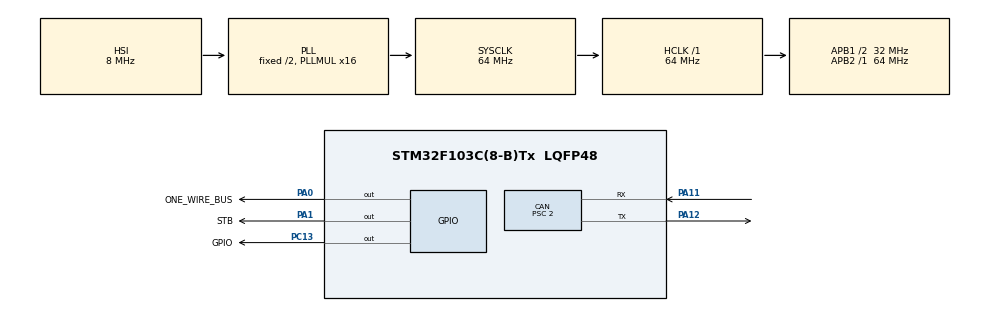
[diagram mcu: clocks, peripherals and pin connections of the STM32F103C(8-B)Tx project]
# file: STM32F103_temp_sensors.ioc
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CAN.BS1=CAN_BS1_11TQ
CAN.BS2=CAN_BS2_4TQ
CAN.CalculateBaudRate=1000000
CAN.CalculateTimeBit=1000
CAN.CalculateTimeQuantum=62.5
CAN.NART=ENABLE
CAN.Prescaler=2
CAN.TXFP=ENABLE
FREERTOS.Tasks01=task_can_handle,40,256,start_task_can_handler,Default,NULL,Dynamic,NULL,NULL;task_dispatcher,24,256,start_task_dispatcher,Default,NULL,Dynamic,NULL,NULL;task_temp_monit,16,256,start_task_temp_monitor,Default,NULL,Dynamic,NULL,NULL;task_watchdog,48,128,start_task_watchdog,Default,NULL,Dynamic,NULL,NULL
FREERTOS.configTOTAL_HEAP_SIZE=8192
FREERTOS.configUSE_NEWLIB_REENTRANT=1
IWDG.Prescaler=IWDG_PRESCALER_256
IWDG.Reload=624
Mcu.Family=STM32F1
Mcu.Name=STM32F103C(8-B)Tx
Mcu.Package=LQFP48
NVIC.CAN1_RX1_IRQn=true\:5\:0\:false\:false\:true\:true\:true\:true\:true
NVIC.CAN1_SCE_IRQn=true\:5\:0\:false\:false\:true\:true\:true\:true\:true
NVIC.PriorityGroup=NVIC_PRIORITYGROUP_4
NVIC.TIM4_IRQn=true\:15\:0\:false\:false\:true\:false\:false\:true\:true
NVIC.TimeBase=TIM4_IRQn
NVIC.TimeBaseIP=TIM4
NVIC.USB_LP_CAN1_RX0_IRQn=true\:5\:0\:false\:false\:true\:true\:true\:true\:true
PA0-WKUP.GPIO_Label=ONE_WIRE_BUS
PA0-WKUP.GPIO_ModeDefaultOutputPP=GPIO_MODE_OUTPUT_OD
PA0-WKUP.GPIO_PuPd=GPIO_NOPULL
PA0-WKUP.Signal=GPIO_Output
PA1.GPIO_Label=STB
PA1.GPIO_PuPd=GPIO_NOPULL
PA1.Signal=GPIO_Output
PA11.Mode=CAN_Activate
PA11.Signal=CAN_RX
PA12.Mode=CAN_Activate
PA12.Signal=CAN_TX
PA13.Mode=Serial_Wire
PA13.Signal=SYS_JTMS-SWDIO
PA14.Mode=Serial_Wire
PA14.Signal=SYS_JTCK-SWCLK
PC13-TAMPER-RTC.GPIO_Label=GPIO
PC13-TAMPER-RTC.Signal=GPIO_Output
ProjectManager.HeapSize=0x200
ProjectManager.StackSize=0x400
ProjectManager.TargetToolchain=STM32CubeIDE
RCC.AHBFreq_Value=64000000
RCC.APB1CLKDivider=RCC_HCLK_DIV2
RCC.APB1Freq_Value=32000000
RCC.APB1TimFreq_Value=64000000
RCC.APB2Freq_Value=64000000
RCC.APB2TimFreq_Value=64000000
RCC.HCLKFreq_Value=64000000
RCC.PLLMUL=RCC_PLL_MUL16
RCC.SYSCLKFreq_VALUE=64000000
RCC.SYSCLKSource=RCC_SYSCLKSOURCE_PLLCLK
RCC.USBFreq_Value=64000000
TIM3.Prescaler=63
VP_FREERTOS_VS_CMSIS_V2.Mode=CMSIS_V2
VP_IWDG_VS_IWDG.Mode=IWDG_Activate
VP_SYS_VS_tim4.Mode=TIM4
VP_TIM3_VS_ClockSourceINT.Mode=Internal
board=custom

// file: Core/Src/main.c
/* USER CODE BEGIN Header */
/**
 ******************************************************************************
 * @file           : main.c
 * @brief          : Main program body
 ******************************************************************************
 * @attention
 *
 * Copyright (c) 2025 STMicroelectronics.
 * All rights reserved.
 *
 * This software is licensed under terms that can be found in the LICENSE file
 * in the root directory of this software component.
 * If no LICENSE file comes with this software, it is provided AS-IS.
 *
 ******************************************************************************
 */
/* USER CODE END Header */
#include "main.h"
#include "cmsis_os.h"

/* USER CODE BEGIN Includes */

#include "app_flash.h"
#include "app_queues.h"
#include "app_config.h"
#include "can_protocol.h"
#include "task_can_handler.h"
#include "task_dispatcher.h"
#include "task_temp_monitor.h"
#include "app_safety.h"
#include "task_watchdog.h"

/* USER CODE END Includes */

CAN_HandleTypeDef hcan;

IWDG_HandleTypeDef hiwdg;

TIM_HandleTypeDef htim3;

/* Definitions for task_can_handle */
osThreadId_t task_can_handleHandle;
const osThreadAttr_t task_can_handle_attributes = {
  .name = "task_can_handle",
  .stack_size = 256 * 4,
  .priority = (osPriority_t) osPriorityHigh,
};
/* Definitions for task_dispatcher */
osThreadId_t task_dispatcherHandle;
const osThreadAttr_t task_dispatcher_attributes = {
  .name = "task_dispatcher",
  .stack_size = 256 * 4,
  .priority = (osPriority_t) osPriorityNormal,
};
/* Definitions for task_temp_monit */
osThreadId_t task_temp_monitHandle;
const osThreadAttr_t task_temp_monit_attributes = {
  .name = "task_temp_monit",
  .stack_size = 256 * 4,
  .priority = (osPriority_t) osPriorityBelowNormal,
};
/* Definitions for task_watchdog */
osThreadId_t task_watchdogHandle;
const osThreadAttr_t task_watchdog_attributes = {
  .name = "task_watchdog",
  .stack_size = 128 * 4,
  .priority = (osPriority_t) osPriorityRealtime,
};
/* USER CODE BEGIN PV */

osMessageQueueId_t can_rx_queueHandle;
osMessageQueueId_t can_tx_queueHandle;
osMessageQueueId_t parser_queueHandle;
osMessageQueueId_t thermo_queueHandle;

/* USER CODE END PV */

void SystemClock_Config(void);
static void MX_GPIO_Init(void);
static void MX_CAN_Init(void);
static void MX_TIM3_Init(void);
static void MX_IWDG_Init(void);
void start_task_can_handler(void *argument);
void start_task_dispatcher(void *argument);
void start_task_temp_monitor(void *argument);
void start_task_watchdog(void *argument);

int main(void)
{

  /* MCU Configuration--------------------------------------------------------*/

  /* Reset of all peripherals, Initializes the Flash interface and the Systick. */
  HAL_Init();

  /* Configure the system clock */
  SystemClock_Config();

  /* Initialize all configured peripherals */
  MX_GPIO_Init();
  MX_CAN_Init();
  MX_TIM3_Init();
  MX_IWDG_Init();
  /* USER CODE BEGIN 2 */

	AppConfig_Init(); // Загрузка маппинга и создание мьютекса

	// Создание очередей FreeRTOS с использованием именованных констант
	can_rx_queueHandle = osMessageQueueNew(CAN_RX_QUEUE_LEN,
			sizeof(CanRxFrame_t), NULL); // CAN-фрейм: на прием
	can_tx_queueHandle = osMessageQueueNew(CAN_TX_QUEUE_LEN,
			sizeof(CanTxFrame_t), NULL); // CAN-фрейм на отправку
	parser_queueHandle = osMessageQueueNew(DISPATCHER_QUEUE_LEN,
			sizeof(ParsedCanCommand_t), NULL); // Структура команды
	thermo_queueHandle = osMessageQueueNew(THERMO_QUEUE_LEN,
			sizeof(ThermoCommand_t), NULL); // Прикладная команда Thermo

	// Проверка успешности создания очередей
	if (can_rx_queueHandle == NULL || parser_queueHandle == NULL
			|| can_tx_queueHandle == NULL || thermo_queueHandle == NULL) {
		Error_Handler();
	}

  /* USER CODE END 2 */

  /* Init scheduler */
  osKernelInitialize();

  /* Create the thread(s) */
  /* creation of task_can_handle */
  task_can_handleHandle = osThreadNew(start_task_can_handler, NULL, &task_can_handle_attributes);

  /* creation of task_dispatcher */
  task_dispatcherHandle = osThreadNew(start_task_dispatcher, NULL, &task_dispatcher_attributes);

  /* creation of task_temp_monit */
  task_temp_monitHandle = osThreadNew(start_task_temp_monitor, NULL, &task_temp_monit_attributes);

  /* creation of task_watchdog */
  task_watchdogHandle = osThreadNew(start_task_watchdog, NULL, &task_watchdog_attributes);

  /* USER CODE BEGIN RTOS_THREADS */
	/* add threads, ... */
	/*
	 *
	 * CAN, Dispatcher, Temp Monitor и Watchdog - критические задачи.
	 * Если хотя бы одна не создана, Executor не должен стартовать
	 * в частично рабочем состоянии.
	 *
	 */
	if (task_can_handleHandle == NULL || task_dispatcherHandle == NULL
			|| task_temp_monitHandle == NULL || task_watchdogHandle == NULL) {
		Error_Handler();
	}

  /* USER CODE END RTOS_THREADS */

  /* Start scheduler */
  osKernelStart();

  /* We should never get here as control is now taken by the scheduler */

  /* Infinite loop */
	while (1) {

	}
}

void SystemClock_Config(void)
{
  RCC_OscInitTypeDef RCC_OscInitStruct = {0};
  RCC_ClkInitTypeDef RCC_ClkInitStruct = {0};

  /** Initializes the RCC Oscillators according to the specified parameters
  * in the RCC_OscInitTypeDef structure.
  */
  RCC_OscInitStruct.OscillatorType = RCC_OSCILLATORTYPE_HSI|RCC_OSCILLATORTYPE_LSI;
  RCC_OscInitStruct.HSIState = RCC_HSI_ON;
  RCC_OscInitStruct.HSICalibrationValue = RCC_HSICALIBRATION_DEFAULT;
  RCC_OscInitStruct.LSIState = RCC_LSI_ON;
  RCC_OscInitStruct.PLL.PLLState = RCC_PLL_ON;
  RCC_OscInitStruct.PLL.PLLSource = RCC_PLLSOURCE_HSI_DIV2;
  RCC_OscInitStruct.PLL.PLLMUL = RCC_PLL_MUL16;
  if (HAL_RCC_OscConfig(&RCC_OscInitStruct) != HAL_OK)
  {
    Error_Handler();
  }

  /** Initializes the CPU, AHB and APB buses clocks
  */
  RCC_ClkInitStruct.ClockType = RCC_CLOCKTYPE_HCLK|RCC_CLOCKTYPE_SYSCLK
                              |RCC_CLOCKTYPE_PCLK1|RCC_CLOCKTYPE_PCLK2;
  RCC_ClkInitStruct.SYSCLKSource = RCC_SYSCLKSOURCE_PLLCLK;
  RCC_ClkInitStruct.AHBCLKDivider = RCC_SYSCLK_DIV1;
  RCC_ClkInitStruct.APB1CLKDivider = RCC_HCLK_DIV2;
  RCC_ClkInitStruct.APB2CLKDivider = RCC_HCLK_DIV1;

  if (HAL_RCC_ClockConfig(&RCC_ClkInitStruct, FLASH_LATENCY_2) != HAL_OK)
  {
    Error_Handler();
  }
}

static void MX_CAN_Init(void)
{

  hcan.Instance = CAN1;
  hcan.Init.Prescaler = 2;
  hcan.Init.Mode = CAN_MODE_NORMAL;
  hcan.Init.SyncJumpWidth = CAN_SJW_1TQ;
  hcan.Init.TimeSeg1 = CAN_BS1_11TQ;
  hcan.Init.TimeSeg2 = CAN_BS2_4TQ;
  hcan.Init.TimeTriggeredMode = DISABLE;
  hcan.Init.AutoBusOff = DISABLE;
  hcan.Init.AutoWakeUp = DISABLE;
  hcan.Init.AutoRetransmission = ENABLE;
  hcan.Init.ReceiveFifoLocked = DISABLE;
  hcan.Init.TransmitFifoPriority = ENABLE;
  if (HAL_CAN_Init(&hcan) != HAL_OK)
  {
    Error_Handler();
  }

}

static void MX_IWDG_Init(void)
{

  hiwdg.Instance = IWDG;
  hiwdg.Init.Prescaler = IWDG_PRESCALER_256;
  hiwdg.Init.Reload = 624;
  if (HAL_IWDG_Init(&hiwdg) != HAL_OK)
  {
    Error_Handler();
  }

}

static void MX_TIM3_Init(void)
{

  TIM_ClockConfigTypeDef sClockSourceConfig = {0};
  TIM_MasterConfigTypeDef sMasterConfig = {0};

  htim3.Instance = TIM3;
  htim3.Init.Prescaler = 63;
  htim3.Init.CounterMode = TIM_COUNTERMODE_UP;
  htim3.Init.Period = 65535;
  htim3.Init.ClockDivision = TIM_CLOCKDIVISION_DIV1;
  htim3.Init.AutoReloadPreload = TIM_AUTORELOAD_PRELOAD_DISABLE;
  if (HAL_TIM_Base_Init(&htim3) != HAL_OK)
  {
    Error_Handler();
  }
  sClockSourceConfig.ClockSource = TIM_CLOCKSOURCE_INTERNAL;
  if (HAL_TIM_ConfigClockSource(&htim3, &sClockSourceConfig) != HAL_OK)
  {
    Error_Handler();
  }
  sMasterConfig.MasterOutputTrigger = TIM_TRGO_RESET;
  sMasterConfig.MasterSlaveMode = TIM_MASTERSLAVEMODE_DISABLE;
  if (HAL_TIMEx_MasterConfigSynchronization(&htim3, &sMasterConfig) != HAL_OK)
  {
    Error_Handler();
  }
  /* USER CODE BEGIN TIM3_Init 2 */

	/*
	 * TIM3 используется драйвером DS18B20 как свободно бегущий
	 * микросекундный таймер для delay_us().
	 *
	 * Без запуска базового таймера счетчик TIM3 не растет, и delay_us()
	 * может зависнуть в цикле ожидания первого 1-Wire тайминга.
	 */
	if (HAL_TIM_Base_Start(&htim3) != HAL_OK) {
		Error_Handler();
	}

  /* USER CODE END TIM3_Init 2 */

}

static void MX_GPIO_Init(void)
{
  GPIO_InitTypeDef GPIO_InitStruct = {0};

  /* GPIO Ports Clock Enable */
  __HAL_RCC_GPIOC_CLK_ENABLE();
  __HAL_RCC_GPIOA_CLK_ENABLE();

  /*Configure GPIO pin Output Level */
  HAL_GPIO_WritePin(GPIO_GPIO_Port, GPIO_Pin, GPIO_PIN_RESET);

  /*Configure GPIO pin Output Level */
  HAL_GPIO_WritePin(GPIOA, ONE_WIRE_BUS_Pin|STB_Pin, GPIO_PIN_RESET);

  /*Configure GPIO pin : GPIO_Pin */
  GPIO_InitStruct.Pin = GPIO_Pin;
  GPIO_InitStruct.Mode = GPIO_MODE_OUTPUT_PP;
  GPIO_InitStruct.Pull = GPIO_NOPULL;
  GPIO_InitStruct.Speed = GPIO_SPEED_FREQ_LOW;
  HAL_GPIO_Init(GPIO_GPIO_Port, &GPIO_InitStruct);

  /*Configure GPIO pin : ONE_WIRE_BUS_Pin */
  GPIO_InitStruct.Pin = ONE_WIRE_BUS_Pin;
  GPIO_InitStruct.Mode = GPIO_MODE_OUTPUT_OD;
  GPIO_InitStruct.Pull = GPIO_NOPULL;
  GPIO_InitStruct.Speed = GPIO_SPEED_FREQ_LOW;
  HAL_GPIO_Init(ONE_WIRE_BUS_GPIO_Port, &GPIO_InitStruct);

  /*Configure GPIO pin : STB_Pin */
  GPIO_InitStruct.Pin = STB_Pin;
  GPIO_InitStruct.Mode = GPIO_MODE_OUTPUT_PP;
  GPIO_InitStruct.Pull = GPIO_NOPULL;
  GPIO_InitStruct.Speed = GPIO_SPEED_FREQ_LOW;
  HAL_GPIO_Init(STB_GPIO_Port, &GPIO_InitStruct);

  /* USER CODE BEGIN MX_GPIO_Init_2 */

	/*
	 * CubeMX перед настройкой open-drain pin выставляет output latch.
	 * После GPIO init явно отпускаем 1-Wire bus в безопасное idle HIGH.
	 */
	AppSafety_EnterSafeState();

  /* USER CODE END MX_GPIO_Init_2 */
}

void start_task_can_handler(void *argument)
{
  /* USER CODE BEGIN 5 */
	app_start_task_can_handler(argument);
	/* Infinite loop */
	for (;;) {
		osDelay(1);
	}
  /* USER CODE END 5 */
}

void start_task_dispatcher(void *argument)
{
  /* USER CODE BEGIN start_task_dispatcher */
	app_start_task_dispatcher(argument);
	/* Infinite loop */
	for (;;) {
		osDelay(1);
	}
  /* USER CODE END start_task_dispatcher */
}

void start_task_temp_monitor(void *argument)
{
  /* USER CODE BEGIN start_task_temp_monitor */
	app_start_task_temp_monitor(argument);

	/* Infinite loop */
	for (;;) {
		osDelay(1);
	}
  /* USER CODE END start_task_temp_monitor */
}

void start_task_watchdog(void *argument)
{
  /* USER CODE BEGIN start_task_watchdog */
	app_start_task_watchdog(argument);

	/* Infinite loop */
	for (;;) {
		osDelay(1);
	}
  /* USER CODE END start_task_watchdog */
}

void HAL_TIM_PeriodElapsedCallback(TIM_HandleTypeDef *htim)
{
  if (htim->Instance == TIM4)
  {
    HAL_IncTick();
  }
}

void Error_Handler(void)
{
  /* USER CODE BEGIN Error_Handler_Debug */
	/* User can add his own implementation to report the HAL error return state */

	// --- Аварийное отпускание 1-Wire ---
	// Общий обработчик запрещает обычные IRQ и переключение задач
	// до отпускания линии, исключая возобновление штатного обмена.
	// RTOS, задержки и CAN-ответы здесь не используются.
	__disable_irq();
	AppSafety_EnterSafeState();
	__DSB();
	__ISB();

	// --- Ожидание сброса ---
	// IWDG здесь не обслуживается.
	// Если он запущен, произойдёт reset по его таймауту.
	// До запуска IWDG остаёмся здесь до внешнего сброса.
	while (1) {
	}
  /* USER CODE END Error_Handler_Debug */
}
